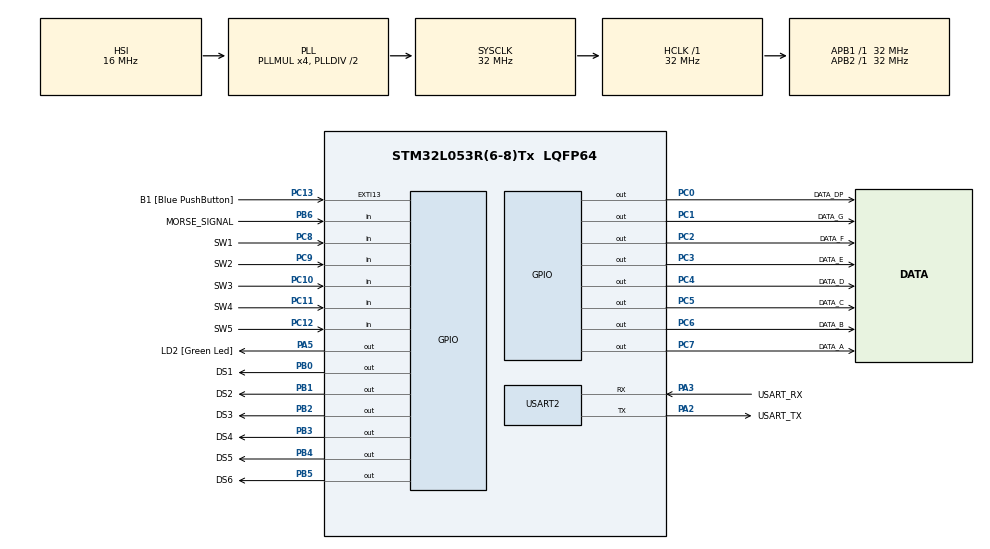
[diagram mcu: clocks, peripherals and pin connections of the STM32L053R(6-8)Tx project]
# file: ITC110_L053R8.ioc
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Mcu.Family=STM32L0
Mcu.Name=STM32L053R(6-8)Tx
Mcu.Package=LQFP64
NVIC.TIM6_DAC_IRQn=true\:0\:0\:false\:false\:true\:true\:true\:true
PA13.GPIO_Label=TMS
PA13.Mode=Serial_Wire
PA13.Signal=SYS_SWDIO
PA14.GPIO_Label=TCK
PA14.Mode=Serial_Wire
PA14.Signal=SYS_SWCLK
PA2.GPIO_Label=USART_TX
PA2.Mode=Asynchronous
PA2.Signal=USART2_TX
PA3.GPIO_Label=USART_RX
PA3.Mode=Asynchronous
PA3.Signal=USART2_RX
PA5.GPIO_Label=LD2 [Green Led]
PA5.Signal=GPIO_Output
PB0.GPIO_Label=DS1
PB0.PinState=GPIO_PIN_SET
PB0.Signal=GPIO_Output
PB1.GPIO_Label=DS2
PB1.PinState=GPIO_PIN_SET
PB1.Signal=GPIO_Output
PB2.GPIO_Label=DS3
PB2.PinState=GPIO_PIN_SET
PB2.Signal=GPIO_Output
PB3.GPIO_Label=DS4
PB3.PinState=GPIO_PIN_SET
PB3.Signal=GPIO_Output
PB4.GPIO_Label=DS5
PB4.PinState=GPIO_PIN_SET
PB4.Signal=GPIO_Output
PB5.GPIO_Label=DS6
PB5.PinState=GPIO_PIN_SET
PB5.Signal=GPIO_Output
PB6.GPIO_Label=MORSE_SIGNAL
PB6.Signal=GPIO_Input
PC0.GPIO_Label=DATA_DP
PC0.PinState=GPIO_PIN_SET
PC0.Signal=GPIO_Output
PC1.GPIO_Label=DATA_G
PC1.PinState=GPIO_PIN_SET
PC1.Signal=GPIO_Output
PC10.GPIO_Label=SW3
PC10.GPIO_Mode=GPIO_MODE_INPUT
PC10.GPIO_PuPd=GPIO_PULLUP
PC10.Signal=GPIO_Input
PC11.GPIO_Label=SW4
PC11.GPIO_Mode=GPIO_MODE_INPUT
PC11.GPIO_PuPd=GPIO_PULLUP
PC11.Signal=GPIO_Input
PC12.GPIO_Label=SW5
PC12.GPIO_Mode=GPIO_MODE_INPUT
PC12.GPIO_PuPd=GPIO_PULLUP
PC12.Signal=GPIO_Input
PC13.GPIO_Label=B1 [Blue PushButton]
PC13.GPIO_ModeDefaultEXTI=GPIO_MODE_IT_FALLING
PC13.Signal=GPXTI13
PC14-OSC32_IN.Mode=LSE-External-Oscillator
PC14-OSC32_IN.Signal=RCC_OSC32_IN
PC15-OSC32_OUT.Mode=LSE-External-Oscillator
PC15-OSC32_OUT.Signal=RCC_OSC32_OUT
PC2.GPIO_Label=DATA_F
PC2.PinState=GPIO_PIN_SET
PC2.Signal=GPIO_Output
PC3.GPIO_Label=DATA_E
PC3.PinState=GPIO_PIN_SET
PC3.Signal=GPIO_Output
PC4.GPIO_Label=DATA_D
PC4.PinState=GPIO_PIN_SET
PC4.Signal=GPIO_Output
PC5.GPIO_Label=DATA_C
PC5.PinState=GPIO_PIN_SET
PC5.Signal=GPIO_Output
PC6.GPIO_Label=DATA_B
PC6.PinState=GPIO_PIN_SET
PC6.Signal=GPIO_Output
PC7.GPIO_Label=DATA_A
PC7.PinState=GPIO_PIN_SET
PC7.Signal=GPIO_Output
PC8.GPIO_Label=SW1
PC8.GPIO_Mode=GPIO_MODE_INPUT
PC8.GPIO_PuPd=GPIO_PULLUP
PC8.Signal=GPIO_Input
PC9.GPIO_Label=SW2
PC9.GPIO_Mode=GPIO_MODE_INPUT
PC9.GPIO_PuPd=GPIO_PULLUP
PC9.Signal=GPIO_Input
PH0-OSC_IN.Mode=HSE-External-Clock-Source
PH0-OSC_IN.Signal=RCC_OSC_IN
PH1-OSC_OUT.Signal=RCC_OSC_OUT
ProjectManager.HeapSize=0x200
ProjectManager.StackSize=0x400
ProjectManager.TargetToolchain=CMake
RCC.AHBFreq_Value=32000000
RCC.APB1Freq_Value=32000000
RCC.APB1TimFreq_Value=32000000
RCC.APB2Freq_Value=32000000
RCC.APB2TimFreq_Value=32000000
RCC.HCLKFreq_Value=32000000
RCC.HSI16_VALUE=16000000
RCC.HSI48_VALUE=48000000
RCC.HSI_VALUE=16000000
RCC.MSI_VALUE=2097000
RCC.PLLMUL=RCC_PLLMUL_4
RCC.SYSCLKFreq_VALUE=32000000
RCC.SYSCLKSource=RCC_SYSCLKSOURCE_PLLCLK
RCC.VCOOutputFreq_Value=64000000
TIM6.Period=1000-1
TIM6.Prescaler=32-1
USART2.VirtualMode-Asynchronous=VM_ASYNC
VP_TIM6_VS_ClockSourceINT.Mode=Enable_Timer
board=NUCLEO-L053R8

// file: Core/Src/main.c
/* USER CODE BEGIN Header */
/**
 ******************************************************************************
 * @file           : main.c
 * @brief          : Main program body
 ******************************************************************************
 * @attention
 *
 * Copyright (c) 2026 STMicroelectronics.
 * All rights reserved.
 *
 * This software is licensed under terms that can be found in the LICENSE file
 * in the root directory of this software component.
 * If no LICENSE file comes with this software, it is provided AS-IS.
 *
 ******************************************************************************
 */
/* USER CODE END Header */
#include "main.h"
#include "tim.h"
#include "usart.h"
#include "gpio.h"

/* USER CODE BEGIN PTD */
enum Statue {
  IDLE,              // 閒置
  SELECTED,          // 已選擇難度
  WAITING,           // 等待任一 摩斯訊號輸入
  READING,           // 讀取中 (摩斯訊號輸入中)
  WAITING_FORINPUT,  // 等待 3T('_' 字元分割) 判斷期間內有無新輸入
  DONE,              // 完成輸入 buffer 已滿或碰到 '='
};
/* USER CODE END PTD */

/* USER CODE BEGIN PD */
#define T_MS 100
#define MAX_SYMBOLS 10

const uint16_t DS_PINS[6]   = {DS1_Pin, DS2_Pin, DS3_Pin, DS4_Pin, DS5_Pin, DS6_Pin};
const uint16_t DATA_PINS[8] = {
    DATA_A_Pin, DATA_B_Pin, DATA_C_Pin, DATA_D_Pin, DATA_E_Pin, DATA_F_Pin, DATA_G_Pin, DATA_DP_Pin};
const uint16_t SW_PINS[5] = {SW1_Pin, SW2_Pin, SW3_Pin, SW4_Pin, SW5_Pin};

uint8_t SEG_TABLE[] = {
    0x3F,  // 0
    0x06,  // 1
    0x5B,  // 2
    0x4F,  // 3
    0x66,  // 4
    0x6D,  // 5
    0x7D,  // 6
    0x07,  // 7
    0x7F,  // 8
    0x6F,  // 9
    0x00,  // blank
    0x40,  // -
};

uint8_t DECODE_TABLE[][2] = {
    {0b100000, 0},  // 0
    {0b110000, 1},  // 1
    {0b111000, 2},  // 2
    {0b111100, 3},  // 3
    {0b111110, 4},  // 4
    {0b111111, 5},  // 5
    {0b101111, 6},  // 6
    {0b100111, 7},  // 7
    {0b100011, 8},  // 8
    {0b100001, 9},  // 9
    {0b1100, '+'},  // +
    {0b1110, '-'},  // -
    {0b1011, '*'},  // *
    {0b1001, '/'},  // /
    {0b1111, '='},  // =
};
/* USER CODE END PD */

/* USER CODE BEGIN PV */
enum Statue current_state = IDLE;

uint8_t ds_index = 0, level = 0;

uint8_t symbol_index         = 0;
uint8_t symbol_buffer        = 0;
uint8_t symbols[MAX_SYMBOLS] = {0};

uint8_t display_buffer[6] = {10, 10, 10, 10, 10, 10};  // all blank

uint8_t  sw_count      = 0;
uint8_t  sw_buff[5]    = {0};
uint16_t last_sw_state = 0;

/* USER CODE END PV */

void SystemClock_Config(void);
/* USER CODE BEGIN PFP */
void    resetState(void);
void    resetDisplay(void);
int     calcData(uint8_t *data);
void    morseScan(void);
uint8_t morseDecode(uint8_t symbol_buffer);
/* USER CODE END PFP */

int main(void) {

  /* MCU Configuration--------------------------------------------------------*/

  /* Reset of all peripherals, Initializes the Flash interface and the Systick. */
  HAL_Init();

  /* Configure the system clock */
  SystemClock_Config();

  /* Initialize all configured peripherals */
  MX_GPIO_Init();
  MX_USART2_UART_Init();
  MX_TIM6_Init();
  /* USER CODE BEGIN 2 */
  HAL_TIM_Base_Start_IT(&htim6);

  /* USER CODE END 2 */

  /* Infinite loop */
  /* USER CODE BEGIN WHILE */
  while (1) {
    for (int i = 0; i < 4; i++) {
      if (sw_buff[i] && (level != i + 1 || current_state != SELECTED)) {
        resetState();
        level = i + 1;
        resetDisplay();
        display_buffer[5] = sw_buff[i] ? i + 1 : 10;
        current_state     = SELECTED;
        break;
      }
    }

    if ((current_state == SELECTED || current_state == IDLE) && sw_buff[4]) {
      resetState();
      resetDisplay();
      current_state     = WAITING;
      display_buffer[5] = 10;
    }

    if (current_state == WAITING || current_state == READING || current_state == WAITING_FORINPUT) {
      morseScan();
    } else if (current_state == DONE) {
      int value = calcData(symbols);

      uint8_t is_negative = value < 0;
      if (is_negative) value *= -1;
      for (int i = 0; i < 6; i++) {
        display_buffer[i] = value % 10;
        value /= 10;
        if (value == 0) {
          if (is_negative && i < 5) {
            display_buffer[i + 1] = 11;  // '-'
          }
          break;
        }
      }

      current_state = IDLE;
    }
    /* USER CODE END WHILE */

  }
}

void SystemClock_Config(void) {
  RCC_OscInitTypeDef       RCC_OscInitStruct = {0};
  RCC_ClkInitTypeDef       RCC_ClkInitStruct = {0};
  RCC_PeriphCLKInitTypeDef PeriphClkInit     = {0};

  /** Configure the main internal regulator output voltage
   */
  __HAL_PWR_VOLTAGESCALING_CONFIG(PWR_REGULATOR_VOLTAGE_SCALE1);

  /** Initializes the RCC Oscillators according to the specified parameters
   * in the RCC_OscInitTypeDef structure.
   */
  RCC_OscInitStruct.OscillatorType      = RCC_OSCILLATORTYPE_HSI;
  RCC_OscInitStruct.HSIState            = RCC_HSI_ON;
  RCC_OscInitStruct.HSICalibrationValue = RCC_HSICALIBRATION_DEFAULT;
  RCC_OscInitStruct.PLL.PLLState        = RCC_PLL_ON;
  RCC_OscInitStruct.PLL.PLLSource       = RCC_PLLSOURCE_HSI;
  RCC_OscInitStruct.PLL.PLLMUL          = RCC_PLLMUL_4;
  RCC_OscInitStruct.PLL.PLLDIV          = RCC_PLLDIV_2;
  if (HAL_RCC_OscConfig(&RCC_OscInitStruct) != HAL_OK) {
    Error_Handler();
  }

  /** Initializes the CPU, AHB and APB buses clocks
   */
  RCC_ClkInitStruct.ClockType = RCC_CLOCKTYPE_HCLK | RCC_CLOCKTYPE_SYSCLK | RCC_CLOCKTYPE_PCLK1 | RCC_CLOCKTYPE_PCLK2;
  RCC_ClkInitStruct.SYSCLKSource   = RCC_SYSCLKSOURCE_PLLCLK;
  RCC_ClkInitStruct.AHBCLKDivider  = RCC_SYSCLK_DIV1;
  RCC_ClkInitStruct.APB1CLKDivider = RCC_HCLK_DIV1;
  RCC_ClkInitStruct.APB2CLKDivider = RCC_HCLK_DIV1;

  if (HAL_RCC_ClockConfig(&RCC_ClkInitStruct, FLASH_LATENCY_1) != HAL_OK) {
    Error_Handler();
  }
  PeriphClkInit.PeriphClockSelection = RCC_PERIPHCLK_USART2;
  PeriphClkInit.Usart2ClockSelection = RCC_USART2CLKSOURCE_PCLK1;
  if (HAL_RCCEx_PeriphCLKConfig(&PeriphClkInit) != HAL_OK) {
    Error_Handler();
  }
}

/* USER CODE BEGIN 4 */
void segScan(void) {
  for (int i = 0; i < 6; i++) {
    HAL_GPIO_WritePin(DS1_GPIO_Port, DS_PINS[i], i != ds_index);
  }

  uint8_t seg_data = SEG_TABLE[display_buffer[ds_index]];
  for (int i = 0; i < 8; i++) {
    HAL_GPIO_WritePin(DATA_A_GPIO_Port, DATA_PINS[i], !((seg_data >> i) & 1));
  }

  ds_index = (ds_index + 1) % 6;
}

void resetState(void) {
  level         = 0;
  current_state = IDLE;
  symbol_index  = 0;
  symbol_buffer = 0;
  for (int i = 0; i < MAX_SYMBOLS; i++) {
    symbols[i] = 0;
  }
}

void resetDisplay(void) {
  for (int i = 0; i < 6; i++) {
    display_buffer[i] = 10;  // blank
  }
}

int getNumber(uint8_t *data, int *index) {
  int value = 0;
  while (*index < MAX_SYMBOLS && data[*index] != 0x0f) {
    uint8_t decoded = morseDecode(data[*index]);
    if (decoded <= 9) {
      value = value * 10 + decoded;
      (*index)++;
    } else {
      break;
    }
  }
  return value;
}

int getNextTerm(uint8_t *data, int *index) {
  int value = getNumber(data, index);

  // 處理乘除
  while (*index < MAX_SYMBOLS && data[*index] != 0x0f) {
    uint8_t op = morseDecode(data[*index]);
    if (op == '*' || op == '/') {
      (*index)++;  // 跳過運算子

      // 獲取下一個數字
      int nextVal = getNumber(data, index);
      if (op == '*') value *= nextVal;
      else if (op == '/') {
        if (nextVal == 0) return 0;  // 應處理除以零錯誤
        value /= nextVal;
      }
    } else {
      break;  // 遇到加減，回給上一層處理
    }
  }
  return value;
}

int calcData(uint8_t *data) {
  int index       = 0;
  int totalResult = getNextTerm(data, &index);

  while (index < MAX_SYMBOLS && data[index] != 0x0f) {
    uint8_t op = morseDecode(data[index]);
    index++;

    int nextTerm = getNextTerm(data, &index);

    if (op == '+') totalResult += nextTerm;
    else if (op == '-') totalResult -= nextTerm;
  }

  return totalResult;
}

uint8_t morseDecode(uint8_t symbol_buffer) {
  for (int i = 0; i < 15; i++) {
    if (DECODE_TABLE[i][0] == symbol_buffer) {
      return DECODE_TABLE[i][1];
    }
  }

  return (uint8_t)-1;
}

void morseScan(void) {
  static uint32_t pulse_start_time = 0, pulse_end_time = 0;
  static uint32_t last_fall_time    = 0;
  static uint8_t  last_signal_state = 0;

  uint8_t  single = HAL_GPIO_ReadPin(MORSE_SIGNAL_GPIO_Port, MORSE_SIGNAL_Pin);
  uint32_t now    = HAL_GetTick();

  if (last_signal_state == single) {
    if (last_fall_time == 0) return;

    uint32_t elapsed = now - last_fall_time;
    // 1/400Hz -> 2.27ms use 4ms
    if (current_state == READING && elapsed > 4) {  // 脈波訊號消失，結束讀取
      current_state  = WAITING_FORINPUT;
      pulse_end_time = now;

      uint32_t pulse_duration = pulse_end_time - pulse_start_time;
      if (pulse_duration >= 2.5 * T_MS) {  // 3T
        // 保證第一位為 1，避免前置零被忽略
        if (symbol_buffer == 0) symbol_buffer |= 1;
        symbol_buffer = (symbol_buffer << 1) | 0;  // dash
      } else if (pulse_duration >= 0.5 * T_MS) {
        // 保證第一位為 1，避免前置零被忽略
        if (symbol_buffer == 0) symbol_buffer |= 1;
        symbol_buffer = (symbol_buffer << 1) | 1;  // dot
      } else {
        current_state = WAITING;
      }
    } else if (current_state == WAITING_FORINPUT && elapsed >= 2.5 * T_MS) {  // 超過 3T 無訊號輸入，視為字元結束
      if (symbol_index < MAX_SYMBOLS) {
        symbols[symbol_index++] = symbol_buffer;  // 儲存字元
      } else {
        current_state = DONE;
      }

      // '=' 結束符號 0b1_111
      if (symbol_buffer == 0x0f || current_state == DONE) {
        current_state = DONE;
      } else {
        current_state = WAITING;
      }

      symbol_buffer = 0;
    }

    return;
  }
  last_signal_state = single;

  if (single) {
    if (current_state == WAITING || current_state == WAITING_FORINPUT) {
      current_state    = READING;
      pulse_start_time = now;
    }
  } else {
    last_fall_time = now;
  }
}

void HAL_TIM_PeriodElapsedCallback(TIM_HandleTypeDef *htim) {
  // every 1ms
  if (htim->Instance == TIM6) {
    segScan();

    if (++sw_count >= 5) {
      uint16_t idr = SW1_GPIO_Port->IDR & (SW1_Pin | SW2_Pin | SW3_Pin | SW4_Pin | SW5_Pin);
      if (idr != last_sw_state) {
        for (int i = 0; i < 5; i++) {
          if ((idr ^ last_sw_state) & SW_PINS[i]) {
            sw_buff[i] = (idr & SW_PINS[i]) == 0;
          }
        }
      }
      last_sw_state = idr;
      sw_count      = 0;
    }
  }
}
/* USER CODE END 4 */

void Error_Handler(void) {
  __disable_irq();
  while (1) {
  }
}
